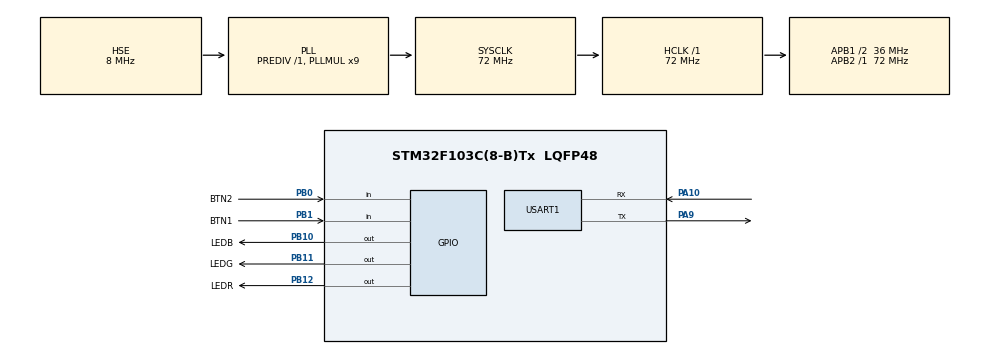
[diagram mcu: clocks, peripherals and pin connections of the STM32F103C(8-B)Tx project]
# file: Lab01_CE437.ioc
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Mcu.Family=STM32F1
Mcu.Name=STM32F103C(8-B)Tx
Mcu.Package=LQFP48
NVIC.PriorityGroup=NVIC_PRIORITYGROUP_4
NVIC.TIM3_IRQn=true\:0\:0\:false\:false\:true\:true\:true\:true
PA10.Mode=Asynchronous
PA10.Signal=USART1_RX
PA9.Mode=Asynchronous
PA9.Signal=USART1_TX
PB0.GPIO_Label=BTN2
PB0.Signal=GPIO_Input
PB1.GPIO_Label=BTN1
PB1.Signal=GPIO_Input
PB10.GPIO_Label=LEDB
PB10.Signal=GPIO_Output
PB11.GPIO_Label=LEDG
PB11.Signal=GPIO_Output
PB12.GPIO_Label=LEDR
PB12.Signal=GPIO_Output
PD0-OSC_IN.Mode=HSE-External-Oscillator
PD0-OSC_IN.Signal=RCC_OSC_IN
PD1-OSC_OUT.Mode=HSE-External-Oscillator
PD1-OSC_OUT.Signal=RCC_OSC_OUT
ProjectManager.HeapSize=0x200
ProjectManager.StackSize=0x400
ProjectManager.TargetToolchain=STM32CubeIDE
RCC.AHBFreq_Value=72000000
RCC.APB1CLKDivider=RCC_HCLK_DIV2
RCC.APB1Freq_Value=36000000
RCC.APB1TimFreq_Value=72000000
RCC.APB2Freq_Value=72000000
RCC.APB2TimFreq_Value=72000000
RCC.HCLKFreq_Value=72000000
RCC.PLLMUL=RCC_PLL_MUL9
RCC.PLLSourceVirtual=RCC_PLLSOURCE_HSE
RCC.SYSCLKFreq_VALUE=72000000
RCC.SYSCLKSource=RCC_SYSCLKSOURCE_PLLCLK
RCC.USBFreq_Value=72000000
TIM3.Period=199
TIM3.Prescaler=35999
USART1.VirtualMode=VM_ASYNC
VP_SYS_VS_ND.Mode=No_Debug
VP_TIM3_VS_ClockSourceINT.Mode=Internal
board=custom

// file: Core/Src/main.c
/* USER CODE BEGIN Header */
/**
  ******************************************************************************
  * @file           : main.c
  * @brief          : Main program body
  ******************************************************************************
  * @attention
  *
  * Copyright (c) 2023 STMicroelectronics.
  * All rights reserved.
  *
  * This software is licensed under terms that can be found in the LICENSE file
  * in the root directory of this software component.
  * If no LICENSE file comes with this software, it is provided AS-IS.
  *
  ******************************************************************************
  */
/* USER CODE END Header */
#include "main.h"

/* USER CODE BEGIN PD */
#define NUM_MODE 				3								/* number of mode */
#define NUM_BUTTON				2								/* number of user button */
#define DEBOUNCE_DELAY			50U								/* software debounce delay */
/* USER CODE END PD */

TIM_HandleTypeDef htim3;

UART_HandleTypeDef huart1;

/* USER CODE BEGIN PV */
const int pressTimeThreshold = 500;
const int Button_Pin[NUM_BUTTON] = {BTN1_Pin, BTN2_Pin};
int LED_Blink_Period[] = {500, 500, 500};				/* blink period in different modes */
int LED_Blink_Current_Mode;							/* current mode */
int LED_Blink_Current_Period = 500;						/* current blink period */
volatile uint32_t difTime = 0;

uint32_t timeElapsed = 0;
uint8_t isButtonPressed;
uint32_t pressTime = 0;
uint8_t isButtonPressed	= 0;
/* USER CODE END PV */

void SystemClock_Config(void);
static void MX_GPIO_Init(void);
static void MX_TIM3_Init(void);
static void MX_USART1_UART_Init(void);
/* USER CODE BEGIN PFP */
typedef void (*LED_Blink)(void);
typedef void (*Short_Press)(void);
typedef void (*Long_Press)(void);

extern LED_Blink LED_Blink_Mode[];
extern Short_Press Short_Press_Button[];
extern Long_Press Long_Press_Button[];

void LED_Blink_Mode_Config(int p_mode);
void LED_Blink_Mode_1(void);
void LED_Blink_Mode_2(void);
void LED_Blink_Mode_3(void);
void Short_Press_Button_1(void);
void Short_Press_Button_2(void);
void Long_Press_Button_1(void);
void Long_Press_Button_2(void);
void Buttons_Check(void);
int checkButtonInMode();
/* USER CODE END PFP */

/* USER CODE BEGIN 0 */

/**
 * @brief: LED blink effect pointer function
 */
LED_Blink LED_Blink_Mode[NUM_MODE] =
{
	LED_Blink_Mode_1,
	LED_Blink_Mode_2,
	LED_Blink_Mode_3
};
/**
 * @brief: Button short press pointer function
 */
Short_Press Short_Press_Button[NUM_BUTTON] =
{
	Short_Press_Button_1,
	Short_Press_Button_2
};
/**
 * @brief: Button long press pointer function
 */
Long_Press Long_Press_Button[NUM_BUTTON] =
{
	Long_Press_Button_1,
	Long_Press_Button_2
};

/**
 * @brief Config LED blink mode and period
 * @param Current mode
 * @retval None
 */
 void LED_Blink_Mode_Config(int p_mode)
{
	LED_Blink_Current_Mode = p_mode;
	LED_Blink_Current_Period = LED_Blink_Period[LED_Blink_Current_Mode];
}

/**
 * @brief LED all turn off
 * @operation LED all turn off
 * @param None
 * @retval None
 */

void LED_All_TurnOff(void)
{
	HAL_GPIO_WritePin(LEDR_GPIO_Port, LEDR_Pin, GPIO_PIN_RESET);
	HAL_GPIO_WritePin(LEDG_GPIO_Port, LEDG_Pin, GPIO_PIN_RESET);
	HAL_GPIO_WritePin(LEDB_GPIO_Port, LEDB_Pin, GPIO_PIN_RESET);
}

/**
 * @brief LED all turn on
 * @operation LED all turn on
 * @param None
 * @retval None
 */

void LED_All_TurnOn(void)
{
	HAL_GPIO_WritePin(LEDR_GPIO_Port, LEDR_Pin, GPIO_PIN_SET);
	HAL_GPIO_WritePin(LEDG_GPIO_Port, LEDG_Pin, GPIO_PIN_SET);
	HAL_GPIO_WritePin(LEDB_GPIO_Port, LEDB_Pin, GPIO_PIN_SET);
}

/**
 * @brief LED blink effect mode 1
 * @operation LED blink effect mode 1
 * @param None
 * @retval None
 */

void LED_Blink_Mode_1(void)
{
	if (timeElapsed >= LED_Blink_Current_Period)
	{
		LED_All_TurnOff();
		while (timeElapsed < LED_Blink_Current_Period + 300) {
			if (checkButtonInMode()) return;
		}
		LED_All_TurnOn();
		timeElapsed = 0;
	}
}

/**
 * @brief LED blink effect mode 2
 * @operation Blink green LED with duration mode 2
 * @param None
 * @retval None
 */
 void LED_Blink_Mode_2(void)
{
	if (timeElapsed >= LED_Blink_Current_Period)
	{
		HAL_GPIO_TogglePin(GPIOB, LEDB_Pin);
		while (timeElapsed < LED_Blink_Current_Period + 300) {
			if (checkButtonInMode()) return;
		}
		HAL_GPIO_TogglePin(GPIOB, LEDG_Pin);
		while (timeElapsed < LED_Blink_Current_Period + 600) {
			if (checkButtonInMode()) return;
		}
		HAL_GPIO_TogglePin(GPIOB, LEDR_Pin);
		while (timeElapsed < LED_Blink_Current_Period + 900) {
			if (checkButtonInMode()) return;
		}
		timeElapsed = 0;
	}
}

/**
 * @brief LED blink effect mode 3
 * @operation Blink blue LED with duration mode 3
 * @param None
 * @retval None
 */
 void LED_Blink_Mode_3(void)
{
	if (timeElapsed >= LED_Blink_Current_Period)
	{
		HAL_GPIO_TogglePin(GPIOB, LEDR_Pin);
//		while (timeElapsed < LED_Blink_Current_Period + 300) {
//			if (checkButtonInMode()) return;
//		}
		HAL_GPIO_TogglePin(GPIOB, LEDB_Pin);
		while (timeElapsed < LED_Blink_Current_Period + 300) {
			if (checkButtonInMode()) return;
		}
		HAL_GPIO_TogglePin(GPIOB, LEDG_Pin);
		while (timeElapsed < LED_Blink_Current_Period + 300) {
			if (checkButtonInMode()) return;
		}
		timeElapsed = 0;
	}
}

/**
 * @brief short press button 1 process
 * @operation decrease period 100ms
 * @param None
 * @retval None
 */
inline void Short_Press_Button_1(void)
{
	LED_All_TurnOff();
	difTime = -100;
}

/**
 * @brief short press button 2 process
 * @operation change LED blink effect mode
 * @param None
 * @retval None
 */
inline void Short_Press_Button_2(void)
{
	LED_All_TurnOff();
	LED_Blink_Current_Mode = (LED_Blink_Current_Mode + 1) % NUM_MODE;
}

/**
 * @brief long press button 1 process
 * @operation decrease period 100ms every 200ms button pressed
 * @param None
 * @retval None
 */
inline void Long_Press_Button_1(void)
{
	LED_All_TurnOff();
	difTime = -(100 * (int)((pressTime - 500) / 200));
}

/**
 * @brief long press button 2 process
 * @operation increase period 100ms every 200ms button pressed
 * @param None
 * @retval None
 */
inline void Long_Press_Button_2(void)
{
	LED_All_TurnOff();
	difTime = (100 * (int)((pressTime - 500) / 200));
}

/**
 * @brief buttons check
 * @operation check if any buttons is pressed
 * @param None
 * @retval None
 */
void Buttons_Check(void)
{
	for (int _button = 0; _button < NUM_BUTTON; ++ _button)
	{
		if (!HAL_GPIO_ReadPin(GPIOB, Button_Pin[_button]))
		{
			/* software debounce */
			HAL_Delay(DEBOUNCE_DELAY);
			if (!HAL_GPIO_ReadPin(GPIOB, Button_Pin[_button]))
			{
				isButtonPressed = 1;
				pressTime = 0;
				difTime = 0;

				/* wait until the button released */
				while (!HAL_GPIO_ReadPin(GPIOB, Button_Pin[_button]));
				if (pressTime < pressTimeThreshold)
				{
					Short_Press_Button[_button]();
				}
				else
				{
					Long_Press_Button[_button]();
				}
				for (int _mode = 0; _mode < NUM_MODE; ++ _mode)
				{
				  LED_Blink_Period[_mode] += difTime;
				  if (LED_Blink_Period[_mode] <= 0)
				  {
					  LED_Blink_Period[_mode] = 2000;
				  }
				}
				LED_Blink_Mode_Config(LED_Blink_Current_Mode);

				isButtonPressed = 0;
			}
		}
	}
}
int checkButtonInMode()
{
	for (int _button = 0; _button < NUM_BUTTON; ++ _button)
	{
		if (!HAL_GPIO_ReadPin(GPIOB, Button_Pin[_button]))
		{
			/* software debounce */
			HAL_Delay(DEBOUNCE_DELAY);
			if (!HAL_GPIO_ReadPin(GPIOB, Button_Pin[_button])) return 1;
		}
	}
	return 0;
}

/* USER CODE END 0 */

int main(void)
{

  /* MCU Configuration--------------------------------------------------------*/

  /* Reset of all peripherals, Initializes the Flash interface and the Systick. */
  HAL_Init();

  /* Configure the system clock */
  SystemClock_Config();

  /* Initialize all configured peripherals */
  MX_GPIO_Init();
  MX_TIM3_Init();
  MX_USART1_UART_Init();
  /* USER CODE BEGIN 2 */
  HAL_TIM_Base_Start_IT(&htim3);
  /* USER CODE END 2 */

  /* Infinite loop */
  /* USER CODE BEGIN WHILE */
  LED_Blink_Current_Mode = 0;
    while (1)
    {
	    /* blink LED effect current mode */
	    LED_Blink_Mode[LED_Blink_Current_Mode]();
      Buttons_Check();
    /* USER CODE END WHILE */

    }
}

void SystemClock_Config(void)
{
  RCC_OscInitTypeDef RCC_OscInitStruct = {0};
  RCC_ClkInitTypeDef RCC_ClkInitStruct = {0};

  /** Initializes the RCC Oscillators according to the specified parameters
  * in the RCC_OscInitTypeDef structure.
  */
  RCC_OscInitStruct.OscillatorType = RCC_OSCILLATORTYPE_HSE;
  RCC_OscInitStruct.HSEState = RCC_HSE_ON;
  RCC_OscInitStruct.HSEPredivValue = RCC_HSE_PREDIV_DIV1;
  RCC_OscInitStruct.HSIState = RCC_HSI_ON;
  RCC_OscInitStruct.PLL.PLLState = RCC_PLL_ON;
  RCC_OscInitStruct.PLL.PLLSource = RCC_PLLSOURCE_HSE;
  RCC_OscInitStruct.PLL.PLLMUL = RCC_PLL_MUL9;
  if (HAL_RCC_OscConfig(&RCC_OscInitStruct) != HAL_OK)
  {
    Error_Handler();
  }

  /** Initializes the CPU, AHB and APB buses clocks
  */
  RCC_ClkInitStruct.ClockType = RCC_CLOCKTYPE_HCLK|RCC_CLOCKTYPE_SYSCLK
                              |RCC_CLOCKTYPE_PCLK1|RCC_CLOCKTYPE_PCLK2;
  RCC_ClkInitStruct.SYSCLKSource = RCC_SYSCLKSOURCE_PLLCLK;
  RCC_ClkInitStruct.AHBCLKDivider = RCC_SYSCLK_DIV1;
  RCC_ClkInitStruct.APB1CLKDivider = RCC_HCLK_DIV2;
  RCC_ClkInitStruct.APB2CLKDivider = RCC_HCLK_DIV1;

  if (HAL_RCC_ClockConfig(&RCC_ClkInitStruct, FLASH_LATENCY_2) != HAL_OK)
  {
    Error_Handler();
  }
}

static void MX_TIM3_Init(void)
{

  TIM_ClockConfigTypeDef sClockSourceConfig = {0};
  TIM_MasterConfigTypeDef sMasterConfig = {0};

  htim3.Instance = TIM3;
  htim3.Init.Prescaler = 35999;
  htim3.Init.CounterMode = TIM_COUNTERMODE_UP;
  htim3.Init.Period = 199;
  htim3.Init.ClockDivision = TIM_CLOCKDIVISION_DIV1;
  htim3.Init.AutoReloadPreload = TIM_AUTORELOAD_PRELOAD_DISABLE;
  if (HAL_TIM_Base_Init(&htim3) != HAL_OK)
  {
    Error_Handler();
  }
  sClockSourceConfig.ClockSource = TIM_CLOCKSOURCE_INTERNAL;
  if (HAL_TIM_ConfigClockSource(&htim3, &sClockSourceConfig) != HAL_OK)
  {
    Error_Handler();
  }
  sMasterConfig.MasterOutputTrigger = TIM_TRGO_RESET;
  sMasterConfig.MasterSlaveMode = TIM_MASTERSLAVEMODE_DISABLE;
  if (HAL_TIMEx_MasterConfigSynchronization(&htim3, &sMasterConfig) != HAL_OK)
  {
    Error_Handler();
  }

}

static void MX_USART1_UART_Init(void)
{

  huart1.Instance = USART1;
  huart1.Init.BaudRate = 115200;
  huart1.Init.WordLength = UART_WORDLENGTH_8B;
  huart1.Init.StopBits = UART_STOPBITS_1;
  huart1.Init.Parity = UART_PARITY_NONE;
  huart1.Init.Mode = UART_MODE_TX_RX;
  huart1.Init.HwFlowCtl = UART_HWCONTROL_NONE;
  huart1.Init.OverSampling = UART_OVERSAMPLING_16;
  if (HAL_UART_Init(&huart1) != HAL_OK)
  {
    Error_Handler();
  }

}

static void MX_GPIO_Init(void)
{
  GPIO_InitTypeDef GPIO_InitStruct = {0};

  /* GPIO Ports Clock Enable */
  __HAL_RCC_GPIOD_CLK_ENABLE();
  __HAL_RCC_GPIOB_CLK_ENABLE();
  __HAL_RCC_GPIOA_CLK_ENABLE();

  /*Configure GPIO pin Output Level */
  HAL_GPIO_WritePin(GPIOB, LEDB_Pin|LEDG_Pin|LEDR_Pin, GPIO_PIN_RESET);

  /*Configure GPIO pins : BTN2_Pin BTN1_Pin */
  GPIO_InitStruct.Pin = BTN2_Pin|BTN1_Pin;
  GPIO_InitStruct.Mode = GPIO_MODE_INPUT;
  GPIO_InitStruct.Pull = GPIO_NOPULL;
  HAL_GPIO_Init(GPIOB, &GPIO_InitStruct);

  /*Configure GPIO pins : LEDB_Pin LEDG_Pin LEDR_Pin */
  GPIO_InitStruct.Pin = LEDB_Pin|LEDG_Pin|LEDR_Pin;
  GPIO_InitStruct.Mode = GPIO_MODE_OUTPUT_PP;
  GPIO_InitStruct.Pull = GPIO_NOPULL;
  GPIO_InitStruct.Speed = GPIO_SPEED_FREQ_LOW;
  HAL_GPIO_Init(GPIOB, &GPIO_InitStruct);

}

/* USER CODE BEGIN 4 */

/**
 * @brief Timer ISR
 * @param htim Timer_HandleTypeDef pointer
 */
void HAL_TIM_PeriodElapsedCallback(TIM_HandleTypeDef *htim)
{
	if (htim->Instance == htim3.Instance)
	{
		timeElapsed += 100;
		if (isButtonPressed) pressTime += 100;
	}
	else
	{
		__NOP();
	}
}

/* USER CODE END 4 */

void Error_Handler(void)
{
  __disable_irq();
  while (1)
  {
  }
}
